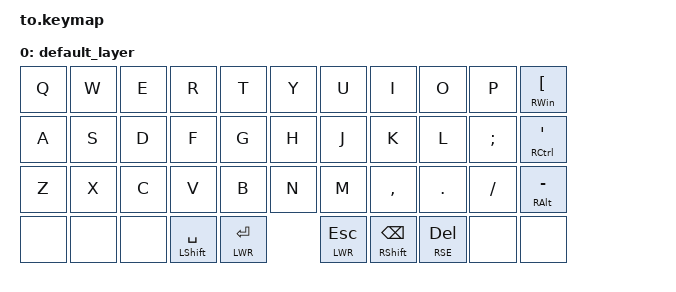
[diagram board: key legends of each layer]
/*
 * Copyright (c) 2020 The ZMK Contributors
 *
 * SPDX-License-Identifier: MIT
 */

#include <behaviors.dtsi>
#include <dt-bindings/zmk/keys.h>
#include <dt-bindings/zmk/bt.h>

#include <dt-bindings/zmk/ext_power.h>

#define DEF 0
#define LWR 1
#define RSE 2
#define ADJ 3

&lt { quick_tap_ms = <220>; };
&mt { quick_tap_ms = <220>; };

/ {
    macros {
        numdot: numdot {
            label = "ZM_numdot";
            compatible = "zmk,behavior-macro";
            #binding-cells = <0>;
            wait-ms = <40>;
            tap-ms = <40>;
            bindings
                = <&macro_press   &kp LALT>    
                , <&macro_tap     &kp KP_N4 &kp KP_N6>    
                , <&macro_release &kp LALT>
                ;
        };
        grtsgn: grtsgn {
            label = "ZM_grtsgn";
            compatible = "zmk,behavior-macro";
            #binding-cells = <0>;
            wait-ms = <40>;
            tap-ms = <40>;
            bindings
                = <&macro_press   &kp LALT>    
                , <&macro_tap     &kp KP_N6 &kp KP_N2>    
                , <&macro_release &kp LALT>
                ;
        };
    };
};
/ {
        keymap {
                compatible = "zmk,keymap";

                default_layer {
// ------------------------------------------------------------------------------------------------
//| LGUI/] |  Q  |  W  |  E  |  R  |  T  |   |  Y  |  U   |  I  |  O  |  P  | RGUI/[ | 
//| CTRL/` |  A  |  S  |  D  |  F  |  G  |   |  H  |  J   |  K  |  L  |  ;  | CTRL/' |
//| LALT/\ |  Z  |  X  |  C  |  V  |  B  |   |  N  |  M   |  ,  |  .  |  /  | RALT/- |
//                             | RSE | SPC | LWR |   | LWR | BKSP | RSE |
                        bindings = <
 &kp Q  &kp W  &kp E  &kp R &kp T                   &kp Y   &kp U   &kp I      &kp O    &kp P     &mt RWIN LBKT 
 &kp A  &kp S  &kp D  &kp F &kp G                   &kp H   &kp J   &kp K      &kp L    &kp SEMI  &mt RCTRL SQT
 &kp Z  &kp X  &kp C  &kp V &kp B                   &kp N   &kp M   &kp COMMA  &kp DOT  &kp FSLH  &mt RALT MINUS
 &none  &none  &none &mt LSHFT SPACE &lt LWR RET    &lt LWR ESC &mt RSHFT BSPC &lt RSE DEL &none &none
                        >;
                };
        };
};
